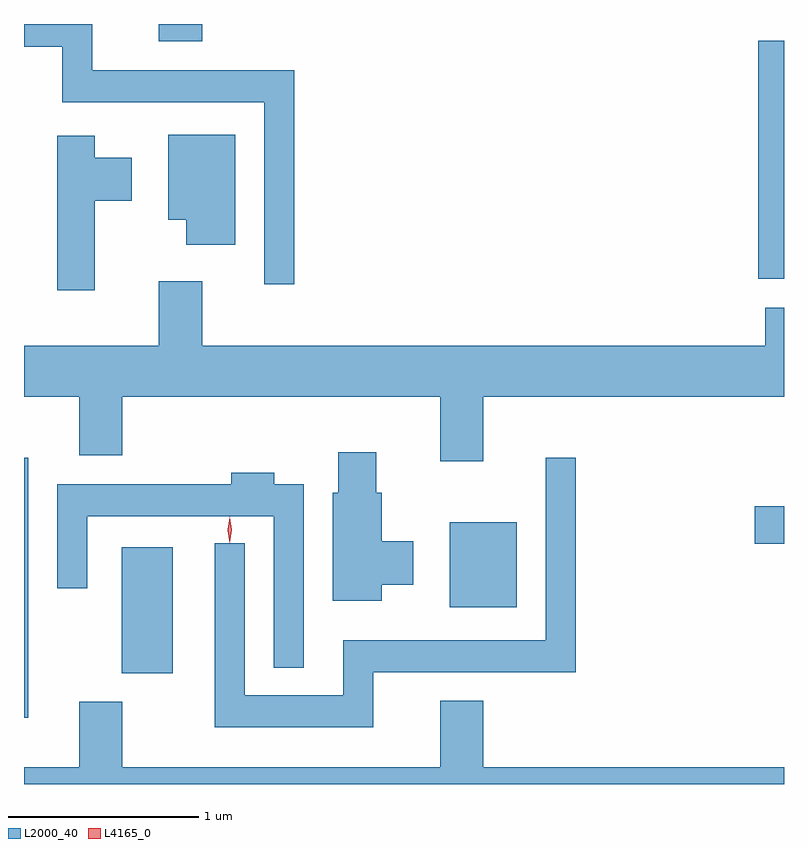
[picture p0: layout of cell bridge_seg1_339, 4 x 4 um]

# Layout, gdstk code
import gdstk
lib = gdstk.Library(unit=1e-6, precision=1e-09)
def R(c, l, rs):  # rectangles x0, y0, x1, y1
    for r in rs: c.add(gdstk.rectangle(r[:2], r[2:], *l))
def P(c, l, *ps):  # polygons
    for p in ps: c.add(gdstk.Polygon(p, *l))
L2000_40 = (2000, 40)
L4165_0 = (4165, 0)

bridge_seg1_339 = lib.new_cell('bridge_seg1_339')
R(bridge_seg1_339, L2000_40, [(926.631,880.126,926.654,881.493), (927.146,880.361,927.414,881.024), (928.871,880.706,929.224,881.154), (930.476,881.041,930.631,881.239), (930.496,882.436,930.631,883.689), (927.341,883.686,927.569,883.777)])
P(bridge_seg1_339, L2000_40, [(928.054,883.534),(926.989,883.534),(926.989,883.777),(926.631,883.777),(926.631,883.656),(926.831,883.656),(926.831,883.366),(927.896,883.366),(927.896,882.408),(928.054,882.408)],
  [(927.744,883.194),(927.391,883.194),(927.391,882.746),(927.486,882.746),(927.486,882.616),(927.744,882.616)],
  [(927.004,882.846),(927.199,882.846),(927.199,883.074),(927.004,883.074),(927.004,883.189),(926.806,883.189),(926.806,882.376),(927.004,882.376)],
  [(929.049,881.816),(930.631,881.816),(930.631,882.284),(930.531,882.284),(930.531,882.084),(927.569,882.084),(927.569,882.424),(927.341,882.424),(927.341,882.084),(926.631,882.084),(926.631,881.816),(926.921,881.816),(926.921,881.506),(927.149,881.506),(927.149,881.816),(928.821,881.816),(928.821,881.476),(929.049,881.476)],
  [(928.514,880.826),(928.679,880.826),(928.679,881.054),(928.514,881.054),(928.514,881.309),(928.484,881.309),(928.484,881.524),(928.286,881.524),(928.286,881.309),(928.256,881.309),(928.256,880.741),(928.514,880.741)],
  [(928.469,880.366),(929.534,880.366),(929.534,881.493),(929.376,881.493),(929.376,880.534),(928.311,880.534),(928.311,880.244),(927.794,880.244),(927.794,881.043),(927.636,881.043),(927.636,880.076),(928.469,880.076)],
  [(928.104,881.354),(927.949,881.354),(927.949,881.414),(927.721,881.414),(927.721,881.354),(926.806,881.354),(926.806,880.808),(926.964,880.808),(926.964,881.186),(927.946,881.186),(927.946,880.388),(928.104,880.388)],
  [(930.631,879.864),(929.049,879.864),(929.049,880.214),(928.821,880.214),(928.821,879.864),(927.149,879.864),(927.149,880.209),(926.921,880.209),(926.921,879.864),(926.631,879.864),(926.631,879.777),(930.631,879.777)])
P(bridge_seg1_339, L4165_0, [(927.713,881.043),(927.713,881.044),(927.703,881.113),(927.713,881.182),(927.713,881.183),(927.714,881.182),(927.723,881.113),(927.714,881.044)],
  [(927.713,881.047),(927.704,881.114),(927.713,881.18),(927.714,881.18),(927.714,881.18),(927.724,881.114),(927.714,881.047),(927.714,881.047)])

lib.write_gds('bridge_seg1_339.gds')
